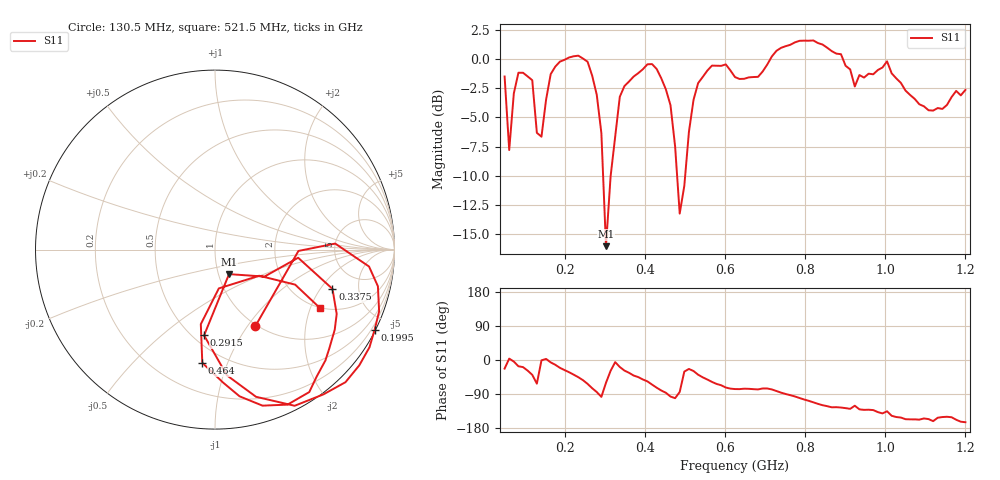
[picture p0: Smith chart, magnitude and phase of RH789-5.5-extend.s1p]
# HZ S RI R 50
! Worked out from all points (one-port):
!   101 points, 50 MHz to 1.2 GHz, reference 50 ohm
!   lowest |S11| = -16.1 dB at 303 MHz (marker M1), VSWR 1.37, Z = 56.1 - j15.7 ohm
!   |S11| at or under -10 dB: 295.8 MHz to 314.7 MHz (18.9 MHz wide, 6.19 % of centre); 480.5 MHz to 500.7 MHz (20.14 MHz wide, 4.11 % of centre)
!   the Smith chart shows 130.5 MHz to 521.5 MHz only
!   S11 on the Smith chart (normalised r, x): 130.5 MHz: 0.98, -1.09; 199.5 MHz: 0.05, -4.23; 291.5 MHz: 0.57, -0.71; 337.5 MHz: 3.13, -2.62; 464 MHz: 0.39, -0.82; 521.5 MHz: 1.98, -2.34
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5e7  0.7782 -0.3255
6.15e7  0.4066 0.0259
7.3e7  0.7118 -0.0513
9.6e7  0.8287 -0.2816
1.19e8  0.6305 -0.5135
1.305e8  0.2239 -0.4281
1.42e8  0.4649 -0.00754
1.535e8  0.6697 0.0336
1.995e8  0.8898 -0.4452
2.57e8  0.4438 -0.8701
2.915e8  -0.0609 -0.4779
3.03e8  0.0782 -0.1366
3.375e8  0.6545 -0.2189
4.18e8  0.4042 -0.8637
4.64e8  -0.0707 -0.631
4.87e8  0.0212 -0.2163
5.215e8  0.585 -0.3258
5.675e8  0.5004 -0.795
6.25e8  0.1927 -0.8162
7.055e8  0.2435 -0.9176
7.745e8  -0.1272 -1.176
8.435e8  -0.5665 -1.009
9.125e8  -0.5677 -0.7043
9.24e8  -0.3893 -0.6574
1.0045e9  -0.6972 -0.6889
1.062e9  -0.6452 -0.2785
1.1425e9  -0.5328 -0.3009
1.2e9  -0.7107 -0.2013
